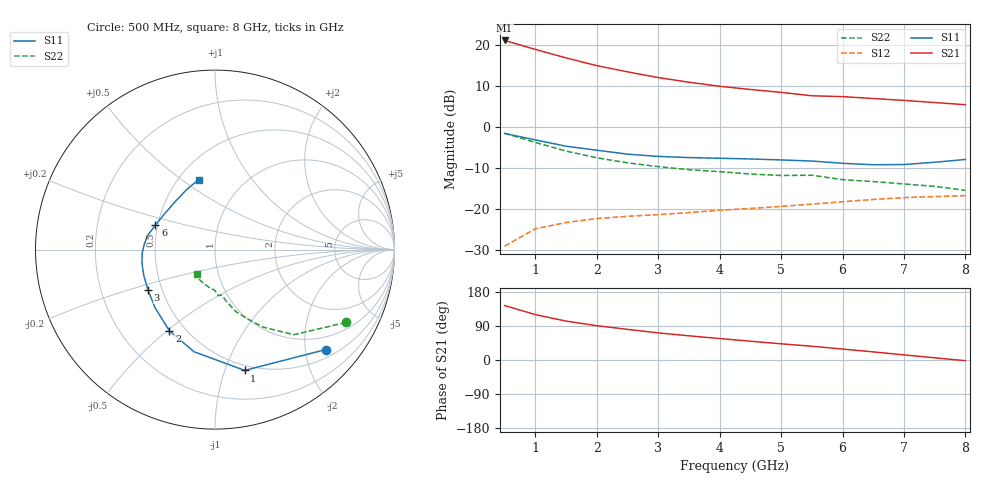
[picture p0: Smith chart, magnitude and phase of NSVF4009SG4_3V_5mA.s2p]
! onsemi NSVF4009SG4, common emitter, VCE = 3 V, IC = 5 mA: S-parameters from the data sheet NSVF4009SG4/D
! (Rev. 1, March 2024), values as printed there (500 MHz to 8 GHz)
# MHz S MA R 50
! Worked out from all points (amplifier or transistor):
!   16 points, 500 MHz to 8 GHz, reference 50 ohm
!   highest |S21| = 21.1 dB at 500 MHz (marker M1)
!   |S21| within 3 dB of that: start of sweep to 1.197 GHz
!   unconditionally stable (mu >= 1): 2.658 GHz to end of sweep
!   at 1.5 GHz: K = 0.59, MSG = 20.1 dB, |S12| = -23.3 dB
!   at 4.5 GHz: K = 1.39, MAG = 10.8 dB, |S12| = -19.9 dB
!   at 8 GHz: K = 1.59, MAG = 6.6 dB, |S12| = -16.8 dB
!   S11 on the Smith chart (normalised r, x): 500 MHz: 0.68, -2.44; 1 GHz: 0.45, -1.17; 2 GHz: 0.41, -0.51; 3 GHz: 0.42, -0.23; 6 GHz: 0.49, +0.15; 8 GHz: 0.63, +0.58
500  0.832 -42.0  11.34 143.7  0.035 67.9  0.835 -29.1
1000  0.693 -76.2  8.817 119.7  0.057 52.4  0.646 -47.2
1500  0.581 -101.6  6.951 102.7  0.068 42.9  0.507 -58.3
2000  0.519 -119.3  5.587 90.5  0.076 37.6  0.42 -65.5
2500  0.465 -135.9  4.695 80.9  0.081 35.3  0.364 -71.4
3000  0.436 -149.0  3.997 71.6  0.085 33.3  0.327 -74.4
3500  0.422 -160.1  3.507 63.8  0.09 32.4  0.3 -77.0
4000  0.414 -169.2  3.129 56.6  0.096 31.1  0.284 -78.7
4500  0.406 -177.3  2.861 49.6  0.101 30.6  0.266 -80.3
5000  0.395 175.4  2.637 42.7  0.107 29.0  0.255 -82.3
5500  0.383 168.1  2.397 36.3  0.114 26.4  0.257 -86.0
6000  0.359 157.5  2.34 28.9  0.122 23.8  0.227 -90.3
6500  0.345 145.1  2.218 21.4  0.13 20.8  0.215 -97.8
7000  0.347 130.0  2.105 13.5  0.137 16.9  0.201 -107.2
7500  0.37 115.2  1.981 5.8  0.141 12.7  0.188 -117.5
8000  0.4 103.2  1.865 -1.8  0.145 8.7  0.168 -126.7
